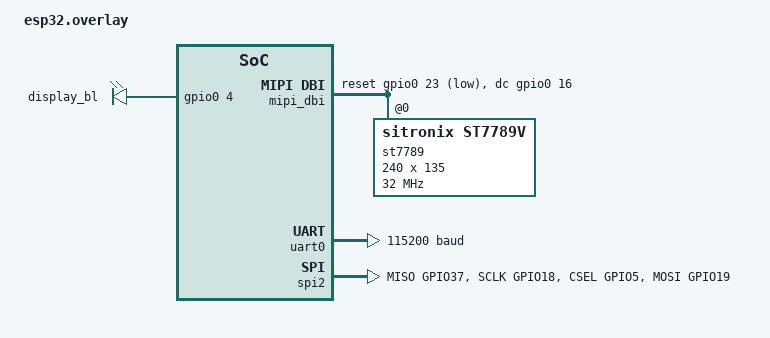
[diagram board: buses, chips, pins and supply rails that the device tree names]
#include <zephyr/dt-bindings/mipi_dbi/mipi_dbi.h>
#include <zephyr/dt-bindings/pinctrl/esp32-pinctrl.h>

/{
	aliases 
	{
		display-ctrl = &st7789;
	};

	leds
	{
		compatible = "gpio-leds";
		display_bl: display_bl_node 
		{
			gpios = <&gpio0 4 GPIO_ACTIVE_HIGH>;
		};
	};

	mipi_dbi
	{
		compatible = "zephyr,mipi-dbi-spi";
		reset-gpios = <&gpio0 23 GPIO_ACTIVE_LOW>;
		dc-gpios = <&gpio0 16 GPIO_ACTIVE_HIGH>;
		spi-dev = <&spi2>;
		#address-cells = <1>;
		#size-cells = <0>;

		st7789: st7789@0 
		{
			compatible = "sitronix,st7789v";
			reg = <0>;
			mipi-max-frequency = <32000000>;
			mipi-mode = <MIPI_DBI_MODE_SPI_4WIRE>;

			height = <135>;
			width = <240>;
			x-offset = <40>;
			y-offset = <52>;
			mdac = <0xa0>;

			vcom = <0x19>;
			gctrl = <0x35>;
			vrhs = <0x12>;
			vdvs = <0x20>;
			// inversion-off;
			gamma = <0x01>;
			colmod = <0x55>;
			lcm = <0x2c>;
			porch-param = [ 0c 0c 00 33 33  ];
			cmd2en-param = [ 5a 69 02 01  ];
			pwctrl1-param = [ a4 a1  ];
			pvgam-param = [ D0 04 0D 11 13 2B 3F 54 4C 18 0D 0B 1F 23  ];
			nvgam-param = [ D0 04 0C 11 13 2C 3F 44 51 2F 1F 1F 20 23  ];
			ram-param = [ 00 F8  ];
			rgb-param = [ CD 08 14  ];
		};
	};
};

&flash0
{
	reg = <0x0 DT_SIZE_M(16)>; //16MB
};

&uart0
{
	status = "okay";
	current-speed = <115200>;
};

&pinctrl
{
	spim2_default: spim2_default 
	{
		group1 
		{
			pinmux = <SPIM2_MISO_GPIO37>, //miso is not used so put it on some not used pin
			         <SPIM2_SCLK_GPIO18>,
			         <SPIM2_CSEL_GPIO5>;
		};
		group2 
		{
			pinmux = <SPIM2_MOSI_GPIO19>;
			output-low;
		};
	};
};

&spi2 {
	status = "okay";
	pinctrl-0 = <&spim2_default>;
	pinctrl-names = "default";
	dma-enabled;
};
